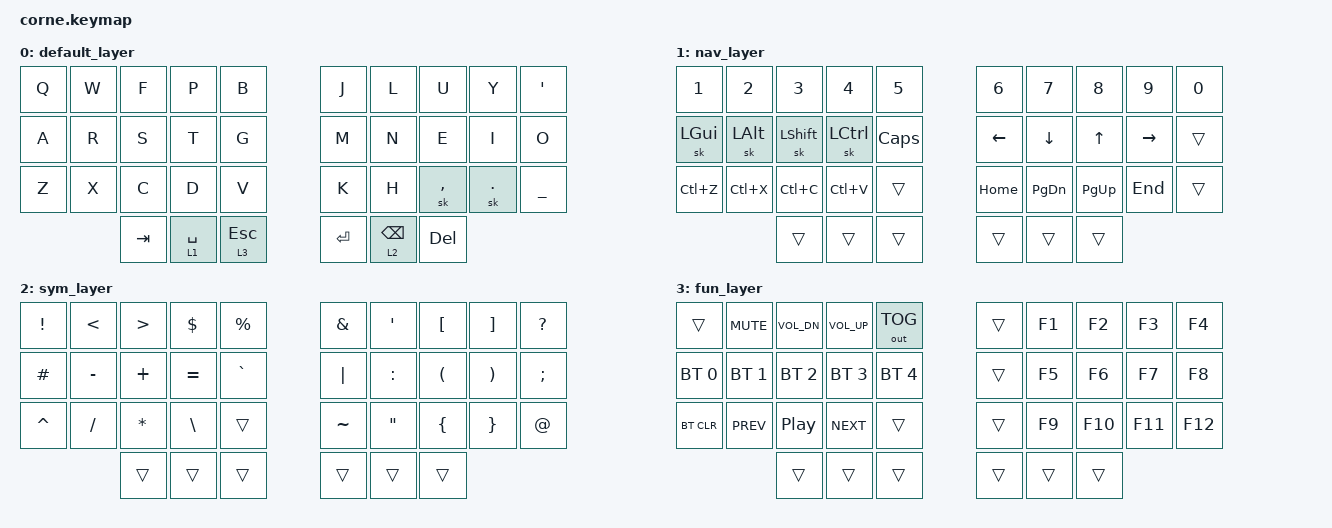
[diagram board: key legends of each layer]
/*
 * Copyright (c) 2020 The ZMK Contributors
 *
 * SPDX-License-Identifier: MIT
 */

#include <behaviors.dtsi>
#include <dt-bindings/zmk/bt.h>
#include <dt-bindings/zmk/keys.h>
#include <dt-bindings/zmk/outputs.h>

/ {
    chosen { zmk,matrix_transform = &five_column_transform; };

    keymap {
        compatible = "zmk,keymap";

        default_layer {
            bindings = <
  &kp Q  &kp W  &kp F    &kp P        &kp B           &kp J      &kp L            &kp U       &kp Y       &kp APOS
  &kp A  &kp R  &kp S    &kp T        &kp G           &kp M      &kp N            &kp E       &kp I       &kp O
  &kp Z  &kp X  &kp C    &kp D        &kp V           &kp K      &kp H            &sk COMMA   &sk PERIOD  &kp UNDERSCORE
                &kp TAB  &lt 1 SPACE  &lt 3 ESCAPE    &kp ENTER  &lt 2 BACKSPACE  &kp DELETE
            >;
        };

        nav_layer {
            bindings = <
  &kp N1        &kp N2        &kp N3          &kp N4            &kp N5          &kp N6    &kp N7     &kp N8     &kp N9     &kp N0
  &sk LEFT_GUI  &sk LEFT_ALT  &sk LEFT_SHIFT  &sk LEFT_CONTROL  &kp CAPSLOCK    &kp LEFT  &kp DOWN   &kp UP     &kp RIGHT  &trans
  &kp LC(Z)     &kp LC(X)     &kp LC(C)       &kp LC(V)         &trans          &kp HOME  &kp PG_DN  &kp PG_UP  &kp END    &trans
                              &trans          &trans            &trans          &trans    &trans     &trans
            >;
        };

        sym_layer {
            bindings = <
  &kp EXCL   &kp LT     &kp GT        &kp DLLR   &kp PRCNT    &kp AMPS   &kp SINGLE_QUOTE   &kp LBKT  &kp RBKT  &kp QMARK
  &kp HASH   &kp MINUS  &kp PLUS      &kp EQUAL  &kp GRAVE    &kp PIPE   &kp COLON          &kp LPAR  &kp RPAR  &kp SEMI
  &kp CARET  &kp SLASH  &kp ASTERISK  &kp BSLH   &trans       &kp TILDE  &kp DOUBLE_QUOTES  &kp LBRC  &kp RBRC  &kp AT
                        &trans        &trans     &trans       &trans     &trans             &trans
            >;
        };

        fun_layer {
            bindings = <
  &trans        &kp K_MUTE    &kp C_VOL_DN  &kp C_VOL_UP  &out OUT_TOG    &trans  &kp F1  &kp F2   &kp F3   &kp F4
  &bt BT_SEL 0  &bt BT_SEL 1  &bt BT_SEL 2  &bt BT_SEL 3  &bt BT_SEL 4    &trans  &kp F5  &kp F6   &kp F7   &kp F8
  &bt BT_CLR    &kp C_PREV    &kp C_PP      &kp C_NEXT    &trans          &trans  &kp F9  &kp F10  &kp F11  &kp F12
                              &trans        &trans        &trans          &trans  &trans  &trans
            >;
        };
    };
};
